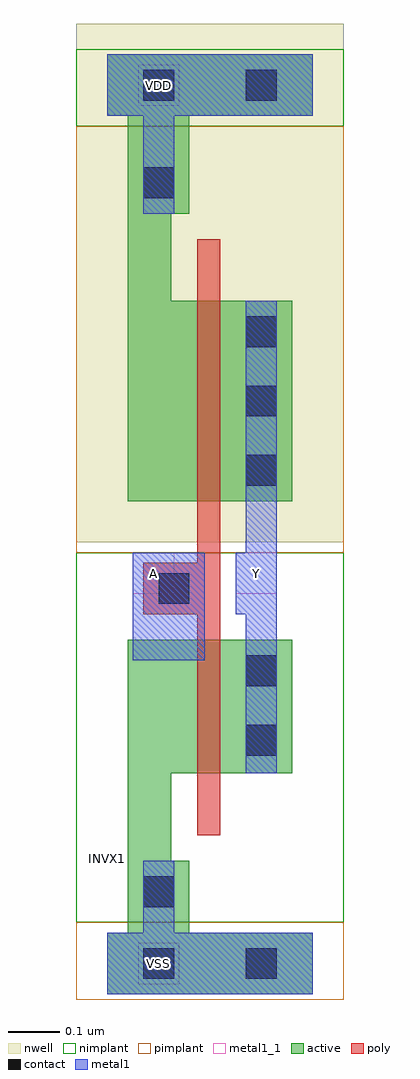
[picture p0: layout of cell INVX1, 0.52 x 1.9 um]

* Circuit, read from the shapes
.subckt INVX1 A VDD VSS Y
M1 Y A VSS VSS nfet w=0.26u l=0.045u
M2 Y A VDD VDD pfet w=0.39u l=0.045u
.ends

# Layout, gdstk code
import gdstk
lib = gdstk.Library(unit=1e-6, precision=5e-10)
def R(c, l, rs):  # rectangles x0, y0, x1, y1
    for r in rs: c.add(gdstk.rectangle(r[:2], r[2:], *l))
def A(c, l, x, y, w, h, nx, ny, dx, dy):  # array of equal rectangles
    R(c, l, [(x+i*dx, y+j*dy, x+i*dx+w, y+j*dy+h) for i in range(nx) for j in range(ny)])
def P(c, l, *ps):  # polygons
    for p in ps: c.add(gdstk.Polygon(p, *l))
active = (1, 0)
nwell = (2, 0)
poly = (3, 0)
nimplant = (4, 0)
pimplant = (5, 0)
contact = (6, 0)
metal1 = (7, 0)
metal1_1 = (7, 1)

invx1 = lib.new_cell('INVX1')
P(invx1, active, [(0.4,0.06),(0.16,0.06),(0.16,0.2),(0.125,0.2),(0.125,0.37),(0.36,0.37),(0.36,0.63),(0.04,0.63),(0.04,0.06),(0,0.06),(0,-0.06),(0.4,-0.06)],
  [(0.4,1.77),(0,1.77),(0,1.65),(0.04,1.65),(0.04,0.9),(0.36,0.9),(0.36,1.29),(0.125,1.29),(0.125,1.46),(0.16,1.46),(0.16,1.65),(0.4,1.65)])
R(invx1, nwell, [(-0.06,0.82,0.46,1.83)])
P(invx1, poly, [(0.175,1.41),(0.22,1.41),(0.22,0.25),(0.175,0.25),(0.175,0.68),(0.07,0.68),(0.07,0.78),(0.175,0.78)])
R(invx1, nimplant, [(-0.06,0.08,0.46,0.8), (-0.06,1.63,0.46,1.78)])
R(invx1, pimplant, [(-0.06,-0.07,0.46,0.08), (-0.06,0.8,0.46,1.63)])
A(invx1, contact, 0.27, 0.93, 0.06, 0.06, 1, 3, 0, 0.135)
R(invx1, contact, [(0.07,-0.03,0.13,0.03), (0.27,-0.03,0.33,0.03), (0.07,0.11,0.13,0.17), (0.27,0.405,0.33,0.465), (0.27,0.54,0.33,0.6), (0.1,0.7,0.16,0.76), (0.07,1.49,0.13,1.55), (0.07,1.68,0.13,1.74), (0.27,1.68,0.33,1.74)])
R(invx1, metal1, [(0.05,0.59,0.19,0.8)])
P(invx1, metal1, [(0.27,1.29),(0.33,1.29),(0.33,0.37),(0.27,0.37),(0.27,0.68),(0.25,0.68),(0.25,0.8),(0.27,0.8)],
  [(0.07,0.2),(0.13,0.2),(0.13,0.06),(0.4,0.06),(0.4,-0.06),(0,-0.06),(0,0.06),(0.07,0.06)],
  [(0,1.77),(0.4,1.77),(0.4,1.65),(0.13,1.65),(0.13,1.46),(0.07,1.46),(0.07,1.65),(0,1.65)])
R(invx1, metal1_1, [(0.06,-0.04,0.14,0.04), (0.05,0.72,0.13,0.8), (0.25,0.72,0.33,0.8), (0.06,1.67,0.14,1.75)])
invx1.add(gdstk.Label('Y', (0.29,0.76), layer=7, texttype=1))
invx1.add(gdstk.Label('A', (0.09,0.76), layer=7, texttype=1))
invx1.add(gdstk.Label('VDD', (0.1,1.71), layer=7, texttype=1))
invx1.add(gdstk.Label('VSS', (0.1,0), layer=7, texttype=1))
invx1.add(gdstk.Label('INVX1', (0,0.205), layer=63, texttype=0))

lib.write_gds('INVX1.gds')
